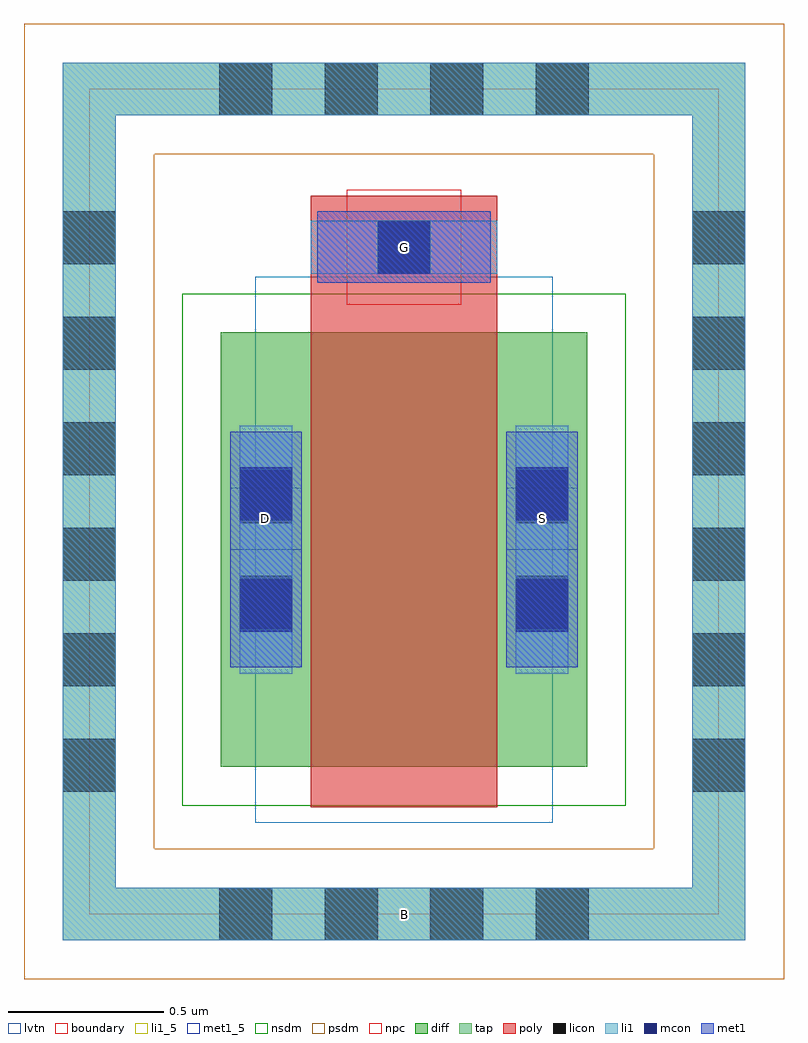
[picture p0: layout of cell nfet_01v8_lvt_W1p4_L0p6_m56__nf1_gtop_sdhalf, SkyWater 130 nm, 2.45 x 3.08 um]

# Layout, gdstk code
import gdstk
lib = gdstk.Library(unit=1e-6, precision=1e-09)
def R(c, l, rs):  # rectangles x0, y0, x1, y1
    for r in rs: c.add(gdstk.rectangle(r[:2], r[2:], *l))
def A(c, l, x, y, w, h, nx, ny, dx, dy):  # array of equal rectangles
    R(c, l, [(x+i*dx, y+j*dy, x+i*dx+w, y+j*dy+h) for i in range(nx) for j in range(ny)])
diff = (65, 20)
tap = (65, 44)
poly = (66, 20)
licon = (66, 44)
li1_5 = (67, 5)
li1 = (67, 20)
mcon = (67, 44)
met1_5 = (68, 5)
met1 = (68, 20)
nsdm = (93, 44)
psdm = (94, 20)
npc = (95, 20)
lvtn = (125, 44)
boundary = (235, 4)

sky130_fd_pr__nfet_01v8_ = lib.new_cell('sky130_fd_pr__nfet_01v8_lvt_9N3NVJ')
R(sky130_fd_pr__nfet_01v8_, diff, [(-0.59,-0.855,0.59,0.545)])
R(sky130_fd_pr__nfet_01v8_, tap, [(-1.1,-1.415,1.1,-1.245), (-1.1,-1.245,-0.93,1.245), (0.93,-1.245,1.1,1.245), (-1.1,1.245,1.1,1.415)])
R(sky130_fd_pr__nfet_01v8_, poly, [(-0.3,-0.985,0.3,0.985)])
A(sky130_fd_pr__nfet_01v8_, licon, -0.595, -1.415, 0.17, 0.17, 4, 2, 0.34, 2.66)
A(sky130_fd_pr__nfet_01v8_, licon, -1.1, -0.935, 0.17, 0.17, 1, 6, 0, 0.34)
A(sky130_fd_pr__nfet_01v8_, licon, 0.93, -0.935, 0.17, 0.17, 1, 6, 0, 0.34)
R(sky130_fd_pr__nfet_01v8_, licon, [(-0.53,-0.41,-0.36,-0.24), (0.36,-0.41,0.53,-0.24), (-0.53,-0.07,-0.36,0.1), (0.36,-0.07,0.53,0.1), (-0.085,0.735,0.085,0.905)])
R(sky130_fd_pr__nfet_01v8_, li1, [(-1.1,-1.415,1.1,-1.245), (-1.1,-1.245,-0.93,1.245), (0.93,-1.245,1.1,1.245), (-0.53,-0.555,-0.36,0.245), (0.36,-0.555,0.53,0.245), (-0.3,0.735,0.3,0.905), (-1.1,1.245,1.1,1.415)])
R(sky130_fd_pr__nfet_01v8_, mcon, [(-0.53,-0.42,-0.36,-0.25), (0.36,-0.42,0.53,-0.25), (-0.53,-0.06,-0.36,0.11), (0.36,-0.06,0.53,0.11), (-0.085,0.735,0.085,0.905)])
R(sky130_fd_pr__nfet_01v8_, met1, [(-0.56,-0.535,-0.33,0.225), (0.33,-0.535,0.56,0.225), (-0.28,0.705,0.28,0.935)])
R(sky130_fd_pr__nfet_01v8_, nsdm, [(-0.715,-0.98,0.715,0.67)])
R(sky130_fd_pr__nfet_01v8_, psdm, [(-1.225,-1.54,1.225,-1.12), (-1.225,-1.12,-0.805,1.12), (0.805,-1.12,1.225,1.12), (-1.225,1.12,1.225,1.54)])
R(sky130_fd_pr__nfet_01v8_, npc, [(-0.185,0.635,0.185,1.005)])
R(sky130_fd_pr__nfet_01v8_, lvtn, [(-0.48,-1.035,0.48,0.725)])
R(sky130_fd_pr__nfet_01v8_, boundary, [(-1.015,-1.33,1.015,1.33)])
sky130_fd_pr__nfet_01v8_.add(gdstk.Label('B', (0,-1.33), layer=67, texttype=5))
sky130_fd_pr__nfet_01v8_.add(gdstk.Label('D', (-0.445,-0.155), layer=67, texttype=5))
sky130_fd_pr__nfet_01v8_.add(gdstk.Label('S', (0.445,-0.155), layer=67, texttype=5))
sky130_fd_pr__nfet_01v8_.add(gdstk.Label('G', (0,0.82), layer=67, texttype=5))

nfet_01v8_lvt_w1p4_l0p6_ = lib.new_cell('nfet_01v8_lvt_W1p4_L0p6_m56__nf1_gtop_sdhalf')
R(nfet_01v8_lvt_w1p4_l0p6_, li1_5, [(0.93,-0.085,1.1,0.085)])
R(nfet_01v8_lvt_w1p4_l0p6_, li1, [(0.93,-0.085,1.1,0.085)])
R(nfet_01v8_lvt_w1p4_l0p6_, met1_5, [(0.455,1.175,0.685,1.375), (1.345,1.175,1.575,1.375), (0.735,2.035,1.295,2.265)])
R(nfet_01v8_lvt_w1p4_l0p6_, met1, [(0.455,1.175,0.685,1.375), (1.345,1.175,1.575,1.375), (0.735,2.035,1.295,2.265)])
nfet_01v8_lvt_w1p4_l0p6_.add(gdstk.Reference(sky130_fd_pr__nfet_01v8_, (1.015,1.33)))
nfet_01v8_lvt_w1p4_l0p6_.add(gdstk.Label('D', (0.57,1.275), layer=68, texttype=5))
nfet_01v8_lvt_w1p4_l0p6_.add(gdstk.Label('S', (1.46,1.275), layer=68, texttype=5))
nfet_01v8_lvt_w1p4_l0p6_.add(gdstk.Label('G', (1.015,2.15), layer=68, texttype=5))
nfet_01v8_lvt_w1p4_l0p6_.add(gdstk.Label('B', (1.015,0), layer=67, texttype=5))

lib.write_gds('nfet_01v8_lvt_W1p4_L0p6_m56__nf1_gtop_sdhalf.gds')
